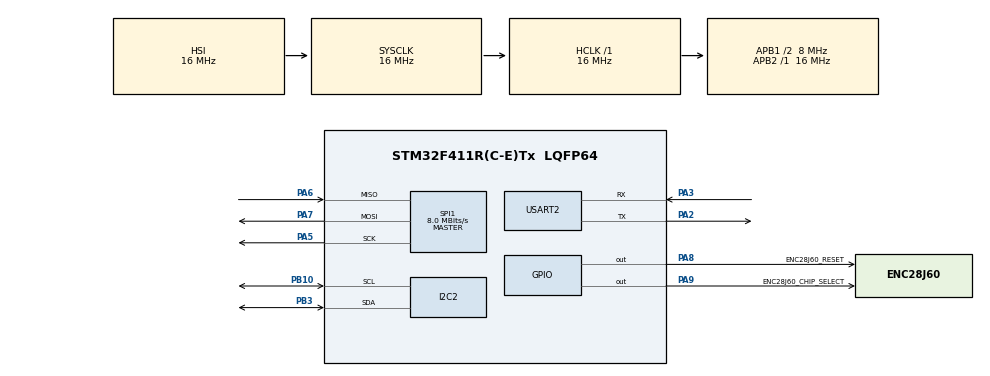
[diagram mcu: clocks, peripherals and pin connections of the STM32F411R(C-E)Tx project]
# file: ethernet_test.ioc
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Mcu.Family=STM32F4
Mcu.Name=STM32F411R(C-E)Tx
Mcu.Package=LQFP64
NVIC.PriorityGroup=NVIC_PRIORITYGROUP_4
NVIC.TIM3_IRQn=true\:0\:0\:false\:false\:true\:true\:true\:true
PA2.Mode=Asynchronous
PA2.Signal=USART2_TX
PA3.Mode=Asynchronous
PA3.Signal=USART2_RX
PA5.Mode=Full_Duplex_Master
PA5.Signal=SPI1_SCK
PA6.Mode=Full_Duplex_Master
PA6.Signal=SPI1_MISO
PA7.Mode=Full_Duplex_Master
PA7.Signal=SPI1_MOSI
PA8.GPIO_Label=ENC28J60_RESET
PA8.Signal=GPIO_Output
PA9.GPIO_Label=ENC28J60_CHIP_SELECT
PA9.Signal=GPIO_Output
PB10.GPIO_Pu=GPIO_PULLUP
PB10.Mode=I2C
PB10.Signal=I2C2_SCL
PB3.GPIO_Pu=GPIO_PULLUP
PB3.Mode=I2C
PB3.Signal=I2C2_SDA
ProjectManager.HeapSize=0x200
ProjectManager.StackSize=0x400
ProjectManager.TargetToolchain=STM32CubeIDE
RCC.48MHZClocksFreq_Value=36000000
RCC.AHBFreq_Value=16000000
RCC.APB1CLKDivider=RCC_HCLK_DIV2
RCC.APB1Freq_Value=8000000
RCC.APB1TimFreq_Value=16000000
RCC.APB2Freq_Value=16000000
RCC.APB2TimFreq_Value=16000000
RCC.CortexFreq_Value=16000000
RCC.HCLKFreq_Value=16000000
RCC.HSE_VALUE=25000000
RCC.HSI_VALUE=16000000
RCC.LSE_VALUE=32768
RCC.PLLM=8
RCC.PLLN=72
RCC.SYSCLKFreq_VALUE=16000000
RCC.VCOOutputFreq_Value=144000000
SPI1.CalculateBaudRate=8.0 MBits/s
SPI1.Direction=SPI_DIRECTION_2LINES
SPI1.Mode=SPI_MODE_MASTER
SPI1.VirtualType=VM_MASTER
TIM3.AutoReloadPreload=TIM_AUTORELOAD_PRELOAD_ENABLE
TIM3.Period=5000
TIM3.Prescaler=16000
USART2.VirtualMode=VM_ASYNC
VP_TIM3_VS_ClockSourceINT.Mode=Internal
board=custom

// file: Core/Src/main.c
/* USER CODE BEGIN Header */
/**
  ******************************************************************************
  * @file           : main.c
  * @brief          : Main program body
  ******************************************************************************
  * @attention
  *
  * Copyright (c) 2022 STMicroelectronics.
  * All rights reserved.
  *
  * This software is licensed under terms that can be found in the LICENSE file
  * in the root directory of this software component.
  * If no LICENSE file comes with this software, it is provided AS-IS.
  *
  ******************************************************************************
  */
/* USER CODE END Header */
#include "main.h"
#include "i2c.h"
#include "spi.h"
#include "tim.h"
#include "usart.h"
#include "gpio.h"

/* USER CODE BEGIN Includes */
#include "ethernet.h"
#include "logger.h"
#include "htu.h"
/* USER CODE END Includes */

/* USER CODE BEGIN PV */
enc28j60_frame_mask frame;
/* USER CODE END PV */

void SystemClock_Config(void);

int main(void)
{

  /* MCU Configuration--------------------------------------------------------*/

  /* Reset of all peripherals, Initializes the Flash interface and the Systick. */
  HAL_Init();

  /* Configure the system clock */
  SystemClock_Config();

  /* Initialize all configured peripherals */
  MX_GPIO_Init();
  MX_USART2_UART_Init();
  MX_SPI1_Init();
  MX_TIM3_Init();
  MX_I2C2_Init();
  /* USER CODE BEGIN 2 */
  log_eth_init_start();
  initialize_enc28j60();
  log_eth_init_finish();
  HAL_TIM_Base_Start_IT(&htim3);
  arp_search_server();
  log_arp_search_started();
  /* USER CODE END 2 */

  /* Infinite loop */
  /* USER CODE BEGIN WHILE */
  while (1)
  {
      eth_process(&frame);
    /* USER CODE END WHILE */

  }
}

void SystemClock_Config(void)
{
  RCC_OscInitTypeDef RCC_OscInitStruct = {0};
  RCC_ClkInitTypeDef RCC_ClkInitStruct = {0};

  /** Configure the main internal regulator output voltage
  */
  __HAL_RCC_PWR_CLK_ENABLE();
  __HAL_PWR_VOLTAGESCALING_CONFIG(PWR_REGULATOR_VOLTAGE_SCALE1);

  /** Initializes the RCC Oscillators according to the specified parameters
  * in the RCC_OscInitTypeDef structure.
  */
  RCC_OscInitStruct.OscillatorType = RCC_OSCILLATORTYPE_HSI;
  RCC_OscInitStruct.HSIState = RCC_HSI_ON;
  RCC_OscInitStruct.HSICalibrationValue = RCC_HSICALIBRATION_DEFAULT;
  RCC_OscInitStruct.PLL.PLLState = RCC_PLL_NONE;
  if (HAL_RCC_OscConfig(&RCC_OscInitStruct) != HAL_OK)
  {
    Error_Handler();
  }

  /** Initializes the CPU, AHB and APB buses clocks
  */
  RCC_ClkInitStruct.ClockType = RCC_CLOCKTYPE_HCLK|RCC_CLOCKTYPE_SYSCLK
                              |RCC_CLOCKTYPE_PCLK1|RCC_CLOCKTYPE_PCLK2;
  RCC_ClkInitStruct.SYSCLKSource = RCC_SYSCLKSOURCE_HSI;
  RCC_ClkInitStruct.AHBCLKDivider = RCC_SYSCLK_DIV1;
  RCC_ClkInitStruct.APB1CLKDivider = RCC_HCLK_DIV2;
  RCC_ClkInitStruct.APB2CLKDivider = RCC_HCLK_DIV1;

  if (HAL_RCC_ClockConfig(&RCC_ClkInitStruct, FLASH_LATENCY_0) != HAL_OK)
  {
    Error_Handler();
  }
}

/* USER CODE BEGIN 4 */
void HAL_TIM_PeriodElapsedCallback(TIM_HandleTypeDef *htim){
    if (htim == &htim3) {
        float temperature = htu_measure_temperature();
        float humidity = htu_measure_humidity();
        udp_send_info_to_server(temperature, humidity);
    }
}
/* USER CODE END 4 */

void Error_Handler(void)
{
  __disable_irq();
  while (1)
  {
  }
}
